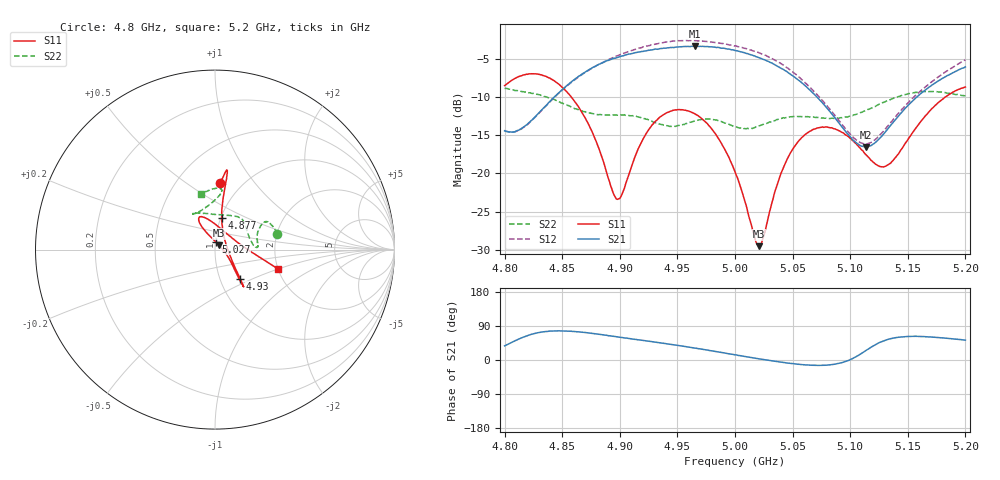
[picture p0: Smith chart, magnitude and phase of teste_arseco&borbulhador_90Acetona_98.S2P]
! Network Analyzer HP8722D
! Hewlett-Packard
! Data name: Linha & Wilkinson
! Saver's name: Rodrigo Anjos
! Comments: Teste da utilização de aquisição
! continua pelo VNA HP8722D
! Time and date: 17/4/2025 11:52
!  Frequency  S11  S21  S12  S22
# HZ  S  MA R 50
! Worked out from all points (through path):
!   401 points, 4.8 GHz to 5.2 GHz, reference 50 ohm
!   highest |S21| = -3.35 dB at 4.965 GHz (marker M1); lowest = -16.5 dB at 5.114 GHz (marker M2)
!   lowest |S11| = -29.5 dB at 5.021 GHz (marker M3), VSWR 1.07, Z = 52.3 + j2.52 ohm
!   |S11| at or under -10 dB: 4.858 GHz to 5.183 GHz (324.9 MHz wide, 6.47 % of centre)
!   |S22| runs from -14.2 to -8.9 dB; largest |S21 - S12| = 0.23
!   S11 on the Smith chart (normalised r, x): 4.8 GHz: 0.79, +0.69; 4.877 GHz: 1.01, +0.37; 4.93 GHz: 1.25, -0.43; 5.027 GHz: 1.00, +0.09; 5.2 GHz: 2.00, -0.50
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4.8e9  0.3744 85.5  0.1899 37.3  0.1897 -2.4  0.358 14.2
4.814e9  0.4331 82.4  0.195 57.7  0.194 18.7  0.3436 23.4
4.834e9  0.4344 80.9  0.2681 74.5  0.2668 37.9  0.3185 29.1
4.867e9  0.2513 80.7  0.4446 73.3  0.4407 43.2  0.2562 21.7
4.877e9  0.1793 77.8  0.4945 69.8  0.4916 42.5  0.2454 17.0
4.894e9  0.07526 43.1  0.5602 62.6  0.5706 40.0  0.2409 9.0
4.899e9  0.06815 13.6  0.5769 60.4  0.5916 39.3  0.2398 7.0
4.917e9  0.15 -41.7  0.622 53.0  0.6593 35.3  0.2325 3.0
4.93e9  0.2152 -49.2  0.646 47.3  0.6967 31.6  0.2157 6.8
4.934e9  0.2303 -50.5  0.6501 45.6  0.7082 30.3  0.2102 9.6
4.965e9  0.2452 -52.1  0.6798 31.4  0.7373 18.5  0.2198 41.6
4.983e9  0.1814 -48.1  0.6668 22.5  0.7158 11.7  0.2232 54.0
5e9  0.1024 -35.4  0.6355 13.7  0.6813 5.4  0.2014 71.9
5.021e9  0.03341 46.1  0.5699 3.2  0.6133 -2.5  0.2042 101.1
5.027e9  0.04478 85.5  0.5466 0.2  0.5892 -4.7  0.2111 107.9
5.045e9  0.1225 118.3  0.4626 -7.8  0.491 -10.9  0.2319 118.9
5.067e9  0.1922 118.3  0.3395 -13.8  0.3528 -13.7  0.2334 121.1
5.089e9  0.192 109.5  0.2192 -9.7  0.2276 -5.3  0.2301 112.3
5.114e9  0.1318 83.5  0.1488 25.7  0.156 33.6  0.2584 95.2
5.134e9  0.1153 34.0  0.2009 55.6  0.2096 65.6  0.3016 85.4
5.172e9  0.2691 -11.2  0.3817 60.4  0.4028 78.4  0.3427 87.7
5.2e9  0.3666 -17.1  0.4962 52.5  0.5513 76.2  0.3197 104.5
